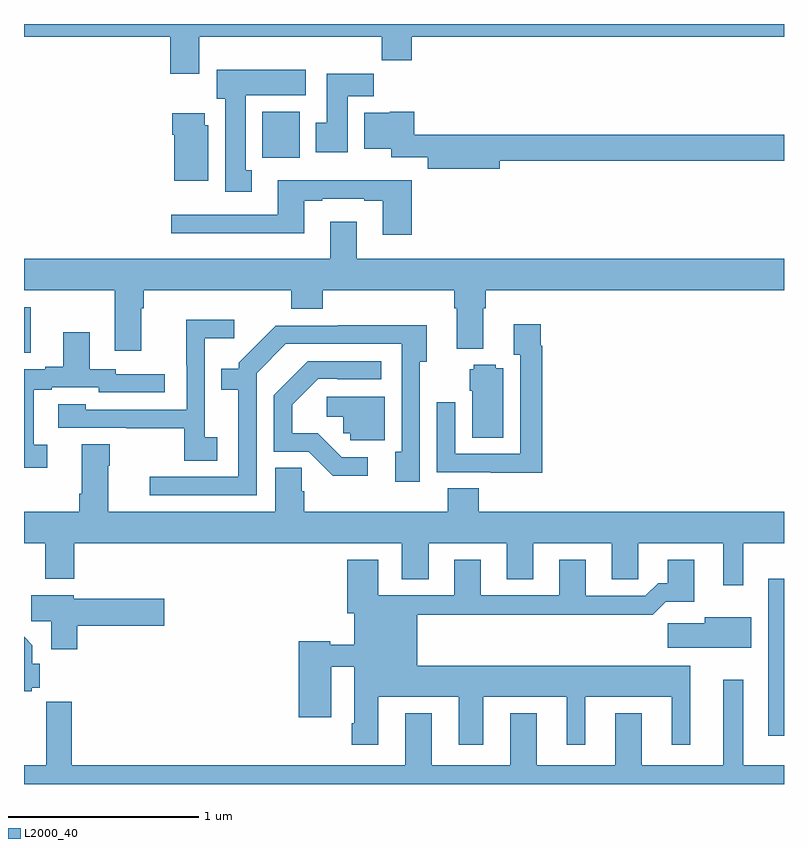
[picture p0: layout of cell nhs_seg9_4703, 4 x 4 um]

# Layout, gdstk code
import gdstk
lib = gdstk.Library(unit=1e-6, precision=1e-09)
def R(c, l, rs):  # rectangles x0, y0, x1, y1
    for r in rs: c.add(gdstk.rectangle(r[:2], r[2:], *l))
def P(c, l, *ps):  # polygons
    for p in ps: c.add(gdstk.Polygon(p, *l))
L2000_40 = (2000, 40)

nhs_seg9_4703 = lib.new_cell('nhs_seg9_4703')
R(nhs_seg9_4703, L2000_40, [(386.918,1180.755,387,1181.581), (383,1182.769,383.035,1183.008), (384.254,1183.796,384.451,1184.038)])
P(nhs_seg9_4703, L2000_40, [(383.923,1184.432),(384.883,1184.432),(384.883,1184.308),(385.04,1184.308),(385.04,1184.432),(387,1184.432),(387,1184.5),(383,1184.5),(383,1184.432),(383.771,1184.432),(383.771,1184.238),(383.923,1184.238)],
  [(384.199,1183.73),(384.166,1183.73),(384.166,1184.126),(384.484,1184.126),(384.484,1184.26),(384.014,1184.26),(384.014,1184.106),(384.059,1184.106),(384.059,1183.617),(384.199,1183.617)],
  [(384.703,1184.12),(384.842,1184.12),(384.842,1184.239),(384.593,1184.239),(384.593,1183.98),(384.536,1183.98),(384.536,1183.824),(384.703,1183.824)],
  [(385.504,1183.78),(387,1183.78),(387,1183.916),(385.354,1183.916),(385.354,1183.917),(385.055,1183.917),(385.055,1184.038),(384.924,1184.038),(384.924,1184.032),(384.791,1184.032),(384.791,1183.844),(384.932,1183.844),(384.932,1183.799),(385.124,1183.799),(385.124,1183.738),(385.504,1183.738)],
  [(383.971,1183.968),(383.95,1183.968),(383.95,1184.029),(383.78,1184.029),(383.78,1183.916),(383.792,1183.916),(383.792,1183.676),(383.971,1183.676)],
  [(385.04,1183.678),(384.335,1183.678),(384.335,1183.497),(383.775,1183.497),(383.775,1183.4),(384.475,1183.4),(384.475,1183.569),(384.571,1183.569),(384.571,1183.581),(384.791,1183.581),(384.791,1183.569),(384.887,1183.569),(384.887,1183.392),(385.04,1183.392)],
  [(383.617,1183.004),(383.63,1183.004),(383.63,1183.1),(384.407,1183.1),(384.407,1183.001),(384.572,1183.001),(384.572,1183.1),(385.265,1183.1),(385.265,1183.004),(385.277,1183.004),(385.277,1182.791),(385.417,1182.791),(385.417,1183.004),(385.43,1183.004),(385.43,1183.1),(387,1183.1),(387,1183.264),(384.751,1183.264),(384.751,1183.459),(384.611,1183.459),(384.611,1183.264),(383,1183.264),(383,1183.1),(383.477,1183.1),(383.477,1182.78),(383.617,1182.78)],
  [(384.016,1182.324),(383.952,1182.324),(383.952,1182.845),(384.106,1182.845),(384.106,1182.943),(383.854,1182.943),(383.854,1182.704),(383.856,1182.704),(383.856,1182.471),(383.325,1182.471),(383.325,1182.499),(383.181,1182.499),(383.181,1182.375),(383.539,1182.375),(383.539,1182.373),(383.844,1182.373),(383.844,1182.202),(384.016,1182.202)],
  [(385.727,1182.806),(385.72,1182.806),(385.72,1182.919),(385.577,1182.919),(385.577,1182.758),(385.611,1182.758),(385.611,1182.237),(385.269,1182.237),(385.269,1182.508),(385.173,1182.508),(385.173,1182.141),(385.457,1182.141),(385.457,1182.137),(385.727,1182.137)],
  [(384.225,1182.663),(384.378,1182.816),(384.987,1182.816),(384.987,1182.25),(384.953,1182.25),(384.953,1182.09),(385.083,1182.09),(385.083,1182.722),(385.12,1182.722),(385.12,1182.914),(384.655,1182.914),(384.655,1182.912),(384.324,1182.912),(384.129,1182.717),(384.129,1182.685),(384.037,1182.685),(384.037,1182.576),(384.128,1182.576),(384.128,1182.117),(383.661,1182.117),(383.661,1182.021),(384.225,1182.021)],
  [(383.122,1182.285),(383.05,1182.285),(383.05,1182.576),(383.146,1182.576),(383.146,1182.588),(383.394,1182.588),(383.394,1182.561),(383.74,1182.561),(383.74,1182.657),(383.484,1182.657),(383.484,1182.684),(383.347,1182.684),(383.347,1182.877),(383.207,1182.877),(383.207,1182.697),(383.111,1182.697),(383.111,1182.684),(383,1182.684),(383,1182.165),(383.122,1182.165)],
  [(384.808,1182.219),(384.672,1182.219),(384.545,1182.346),(384.412,1182.346),(384.412,1182.496),(384.549,1182.633),(384.649,1182.633),(384.649,1182.63),(384.88,1182.63),(384.88,1182.726),(384.494,1182.726),(384.315,1182.547),(384.315,1182.249),(384.498,1182.249),(384.626,1182.122),(384.808,1182.122)],
  [(385.522,1182.688),(385.482,1182.688),(385.482,1182.706),(385.368,1182.706),(385.368,1182.684),(385.346,1182.684),(385.346,1182.57),(385.358,1182.57),(385.358,1182.322),(385.522,1182.322)],
  [(384.898,1182.537),(384.594,1182.537),(384.594,1182.434),(384.681,1182.434),(384.681,1182.345),(384.717,1182.345),(384.717,1182.309),(384.898,1182.309)],
  [(386.785,1181.768),(387,1181.768),(387,1181.932),(385.394,1181.932),(385.394,1182.056),(385.229,1182.056),(385.229,1181.932),(384.476,1181.932),(384.476,1182.042),(384.461,1182.042),(384.461,1182.164),(384.323,1182.164),(384.323,1181.932),(383.443,1181.932),(383.443,1182.176),(383.451,1182.176),(383.451,1182.289),(383.303,1182.289),(383.303,1182.028),(383.291,1182.028),(383.291,1181.932),(383,1181.932),(383,1181.768),(383.111,1181.768),(383.111,1181.579),(383.264,1181.579),(383.264,1181.768),(384.989,1181.768),(384.989,1181.578),(385.129,1181.578),(385.129,1181.768),(385.541,1181.768),(385.541,1181.578),(385.681,1181.578),(385.681,1181.768),(386.093,1181.768),(386.093,1181.578),(386.232,1181.578),(386.232,1181.768),(386.681,1181.768),(386.681,1181.547),(386.785,1181.547)],
  [(384.865,1180.958),(385.289,1180.958),(385.289,1180.707),(385.417,1180.707),(385.417,1180.958),(385.856,1180.958),(385.856,1180.707),(385.954,1180.707),(385.954,1180.958),(386.408,1180.958),(386.408,1180.707),(386.506,1180.707),(386.506,1181.122),(385.069,1181.122),(385.069,1181.392),(386.053,1181.392),(386.053,1181.39),(386.309,1181.39),(386.378,1181.459),(386.527,1181.459),(386.527,1181.68),(386.387,1181.68),(386.387,1181.557),(386.338,1181.557),(386.271,1181.49),(385.957,1181.49),(385.957,1181.68),(385.817,1181.68),(385.817,1181.493),(385.405,1181.493),(385.405,1181.68),(385.265,1181.68),(385.265,1181.493),(384.865,1181.493),(384.865,1181.68),(384.701,1181.68),(384.701,1181.4),(384.737,1181.4),(384.737,1181.233),(384.612,1181.233),(384.612,1181.252),(384.446,1181.252),(384.446,1180.851),(384.616,1180.851),(384.616,1181.116),(384.737,1181.116),(384.737,1180.819),(384.725,1180.819),(384.725,1180.707),(384.865,1180.707)],
  [(383.279,1181.333),(383.737,1181.333),(383.737,1181.475),(383.262,1181.475),(383.262,1181.494),(383.039,1181.494),(383.039,1181.356),(383.144,1181.356),(383.144,1181.208),(383.279,1181.208)],
  [(386.827,1181.377),(386.582,1181.377),(386.582,1181.345),(386.388,1181.345),(386.388,1181.216),(386.827,1181.216)],
  [(383.04,1181.006),(383.083,1181.006),(383.083,1181.134),(383.044,1181.134),(383.044,1181.23),(383,1181.274),(383,1180.987),(383.04,1180.987)],
  [(387,1180.6),(386.785,1180.6),(386.785,1181.05),(386.681,1181.05),(386.681,1180.6),(386.251,1180.6),(386.251,1180.873),(386.111,1180.873),(386.111,1180.6),(385.699,1180.6),(385.699,1180.873),(385.559,1180.873),(385.559,1180.6),(385.147,1180.6),(385.147,1180.873),(385.007,1180.873),(385.007,1180.6),(383.252,1180.6),(383.252,1180.933),(383.117,1180.933),(383.117,1180.82),(383.116,1180.82),(383.116,1180.6),(383,1180.6),(383,1180.5),(387,1180.5)])

lib.write_gds('nhs_seg9_4703.gds')
